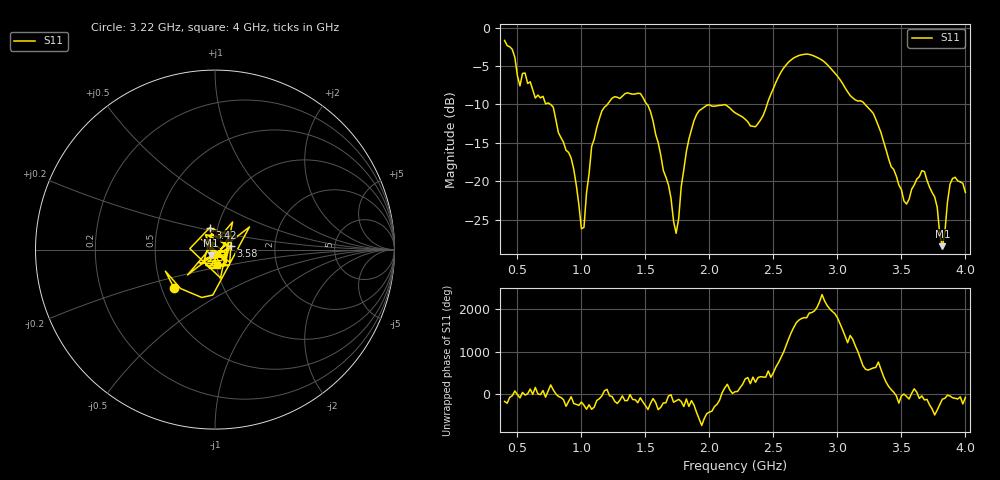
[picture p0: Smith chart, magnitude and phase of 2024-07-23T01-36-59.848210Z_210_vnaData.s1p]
!Created with skrf (http://scikit-rf.org).
# Hz S RI R 50.0
!freq ReS11 ImS11
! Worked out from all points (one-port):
!   181 points, 400 MHz to 4 GHz, reference 50 ohm
!   lowest |S11| = -28.4 dB at 3.82 GHz (marker M1), VSWR 1.08, Z = 47.7 - j2.94 ohm
!   |S11| at or under -10 dB: 759.9 MHz to 1.203 GHz (442.9 MHz wide, 45.1 % of centre); 1.514 GHz to 2.451 GHz (936.6 MHz wide, 47.2 % of centre); 3.216 GHz to end of sweep
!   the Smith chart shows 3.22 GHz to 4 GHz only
!   S11 on the Smith chart (normalised r, x): 3.22 GHz: 0.58, -0.28; 3.42 GHz: 0.91, +0.22; 3.58 GHz: 1.19, +0.04; 4 GHz: 1.00, -0.17
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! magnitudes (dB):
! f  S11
! 400 MHz  -1.7
! 520 MHz  -7.6
! 560 MHz  -5.9
! 780 MHz  -10.3
! 860 MHz  -14.9
! 1.02 GHz  -26.0
! 1.08 GHz  -15.5
! 1.12 GHz  -13.0
! 1.3 GHz  -9.2
! 1.52 GHz  -10.1
! 1.74 GHz  -26.7
! 1.76 GHz  -24.8
! 1.82 GHz  -16.1
! 1.9 GHz  -11.3
! 2.2 GHz  -11.1
! 2.36 GHz  -12.9
! 2.66 GHz  -3.9
! 2.88 GHz  -4.2
! 3.1 GHz  -8.8
! 3.22 GHz  -10.1
! 3.42 GHz  -18.1
! 3.56 GHz  -22.3
! 3.58 GHz  -21.0
! 3.68 GHz  -18.7
! 3.78 GHz  -23.4
! 3.82 GHz  -28.4
! 3.88 GHz  -20.4
! 4 GHz  -21.4
